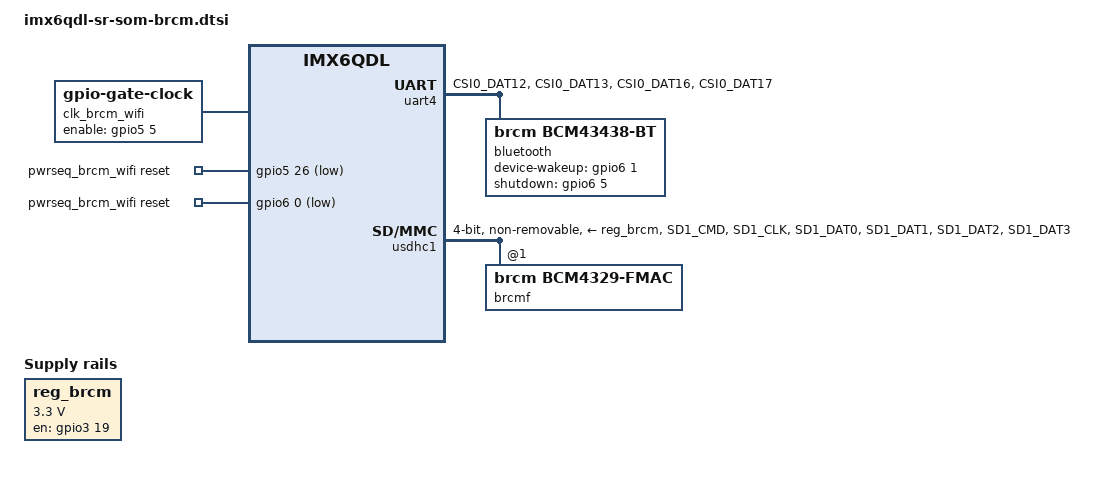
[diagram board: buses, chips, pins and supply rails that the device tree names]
/*
 * Copyright (C) 2013,2014 Russell King
 *
 * This file is dual-licensed: you can use it either under the terms
 * of the GPL or the X11 license, at your option. Note that this dual
 * licensing only applies to this file, and not this project as a
 * whole.
 *
 *  a) This file is free software; you can redistribute it and/or
 *     modify it under the terms of the GNU General Public License
 *     version 2 as published by the Free Software Foundation.
 *
 *     This file is distributed in the hope that it will be useful,
 *     but WITHOUT ANY WARRANTY; without even the implied warranty of
 *     MERCHANTABILITY or FITNESS FOR A PARTICULAR PURPOSE.  See the
 *     GNU General Public License for more details.
 *
 * Or, alternatively,
 *
 *  b) Permission is hereby granted, free of charge, to any person
 *     obtaining a copy of this software and associated documentation
 *     files (the "Software"), to deal in the Software without
 *     restriction, including without limitation the rights to use,
 *     copy, modify, merge, publish, distribute, sublicense, and/or
 *     sell copies of the Software, and to permit persons to whom the
 *     Software is furnished to do so, subject to the following
 *     conditions:
 *
 *     The above copyright notice and this permission notice shall be
 *     included in all copies or substantial portions of the Software.
 *
 *     THE SOFTWARE IS PROVIDED "AS IS", WITHOUT WARRANTY OF ANY KIND,
 *     EXPRESS OR IMPLIED, INCLUDING BUT NOT LIMITED TO THE WARRANTIES
 *     OF MERCHANTABILITY, FITNESS FOR A PARTICULAR PURPOSE AND
 *     NONINFRINGEMENT. IN NO EVENT SHALL THE AUTHORS OR COPYRIGHT
 *     HOLDERS BE LIABLE FOR ANY CLAIM, DAMAGES OR OTHER LIABILITY,
 *     WHETHER IN AN ACTION OF CONTRACT, TORT OR OTHERWISE, ARISING
 *     FROM, OUT OF OR IN CONNECTION WITH THE SOFTWARE OR THE USE OR
 *     OTHER DEALINGS IN THE SOFTWARE.
 */
#include <dt-bindings/gpio/gpio.h>
/ {
        clk_brcm_wifi: brcm-wifi-clock {
                /* This is a hack around the kernel - using "fixed clock"
                 * results in the "pinctrl" properties being ignored, and
                 * the clock not being output.  Instead, use a gated clock
                 * and the unrouted WL_XTAL_PU gpio.
                 */
                compatible = "gpio-gate-clock";
                #clock-cells = <0>;
                clock-frequency = <32768>;
                pinctrl-names = "default";
                pinctrl-0 = <&pinctrl_microsom_brcm_wifi_clk>;
                enable-gpios = <&gpio5 5 GPIO_ACTIVE_HIGH>;
        };

	pwrseq_brcm_wifi: brcm-wifi-pwrseq {
		compatible = "mmc-pwrseq-simple";
		pinctrl-names = "default";
		pinctrl-0 = <&pinctrl_microsom_brcm_wifi_en>, <&pinctrl_microsom_brcm_bt_en>;
		reset-gpios = <&gpio5 26 GPIO_ACTIVE_LOW>, <&gpio6 0 GPIO_ACTIVE_LOW>;
		clocks = <&clk_brcm_wifi>;
		clock-names = "ext_clock";
	};

	reg_brcm: brcm-reg {
		compatible = "regulator-fixed";
		enable-active-high;
		gpio = <&gpio3 19 0>;
		pinctrl-names = "default";
		pinctrl-0 = <&pinctrl_microsom_brcm_reg>;
		regulator-name = "brcm_reg";
		regulator-min-microvolt = <3300000>;
		regulator-max-microvolt = <3300000>;
		startup-delay-us = <200000>;
	};
};

&iomuxc {
	microsom {
		pinctrl_microsom_brcm_bt: microsom-brcm-bt {
			fsl,pins = <
				MX6QDL_PAD_CSI0_DAT15__GPIO6_IO01	0x40013070
				MX6QDL_PAD_CSI0_DAT18__GPIO6_IO04	0x40013070
				MX6QDL_PAD_CSI0_DAT19__GPIO6_IO05	0x40013070
			>;
		};
		pinctrl_microsom_brcm_bt_en: microsom-brcm-bt-en {
			fsl,pins = <
				MX6QDL_PAD_CSI0_DAT14__GPIO6_IO00	0x40013070
			>;
		};

		pinctrl_microsom_brcm_reg: microsom-brcm-reg {
			fsl,pins = <
				MX6QDL_PAD_EIM_D19__GPIO3_IO19		0x40013070
			>;
		};

		pinctrl_microsom_brcm_wifi_clk: microsom-brcm-clk {
			fsl,pins = <
				MX6QDL_PAD_GPIO_8__XTALOSC_REF_CLK_32K	0x000b0
				/* unrouted pin */
				MX6QDL_PAD_DISP0_DAT11__GPIO5_IO05	0x40013070
			>;
		};

		pinctrl_microsom_brcm_wifi_en: microsom-brcm-wifi-en {
			fsl,pins = <
				MX6QDL_PAD_CSI0_DAT8__GPIO5_IO26	0x40013070
			>;
		};

		pinctrl_microsom_brcm_wifi_irq: microsom-brcm-wifi-irq {
			fsl,pins = <
				MX6QDL_PAD_CSI0_DAT9__GPIO5_IO27	0x1b0b0
				MX6QDL_PAD_CSI0_DATA_EN__GPIO5_IO20	0x1b0b0
			>;
		};

		pinctrl_microsom_uart4: microsom-uart4 {
			fsl,pins = <
				MX6QDL_PAD_CSI0_DAT12__UART4_TX_DATA 0x1b0b1
				MX6QDL_PAD_CSI0_DAT13__UART4_RX_DATA 0x1b0b1
				MX6QDL_PAD_CSI0_DAT16__UART4_RTS_B 0x1b0b1
				MX6QDL_PAD_CSI0_DAT17__UART4_CTS_B 0x1b0b1
			>;
		};

		pinctrl_microsom_usdhc1: microsom-usdhc1 {
			fsl,pins = <
				MX6QDL_PAD_SD1_CMD__SD1_CMD    0x17059
				MX6QDL_PAD_SD1_CLK__SD1_CLK    0x10059
				MX6QDL_PAD_SD1_DAT0__SD1_DATA0 0x17059
				MX6QDL_PAD_SD1_DAT1__SD1_DATA1 0x17059
				MX6QDL_PAD_SD1_DAT2__SD1_DATA2 0x17059
				MX6QDL_PAD_SD1_DAT3__SD1_DATA3 0x17059
			>;
		};
	};
};

/* UART4 - Connected to optional BRCM Wifi/BT/FM */
&uart4 {
	pinctrl-names = "default";
	pinctrl-0 = <&pinctrl_microsom_uart4>;
	uart-has-rtscts;
	status = "okay";

        bluetooth {
                compatible = "brcm,bcm43438-bt";
                clocks = <&clk_brcm_wifi>;
                clock-names = "ext_clock";
                device-wakeup-gpios = <&gpio6 1 GPIO_ACTIVE_HIGH>;
                shutdown-gpios = <&gpio6 5 GPIO_ACTIVE_HIGH>;
                pinctrl-names = "default";
                pinctrl-0 = <&pinctrl_microsom_brcm_bt>;
		max-speed = <3000000>;
        };
};

/* USDHC1 - Connected to optional BRCM Wifi/BT/FM */
&usdhc1 {
	#address-cells = <1>;
	#size-cells = <0>;
	pinctrl-names = "default";
	pinctrl-0 = <&pinctrl_microsom_usdhc1>;
	bus-width = <4>;
	non-removable;
	no-1-8-v;
	keep-power-in-suspend;
	mmc-pwrseq = <&pwrseq_brcm_wifi>;
	vmmc-supply = <&reg_brcm>;
	status = "okay";

	brcmf: wifi@1 {
		compatible = "brcm,bcm4329-fmac";
		reg = <1>;
		pinctrl-names = "default";
		pinctrl-0 = <&pinctrl_microsom_brcm_wifi_irq>;
/* OOB Interrupts are broken on BCM4330 with the brcmfmac driver
		interrupt-parent = <&gpio5>;
		interrupts = <20 IRQ_TYPE_LEVEL_LOW>;
*/
	};
};
